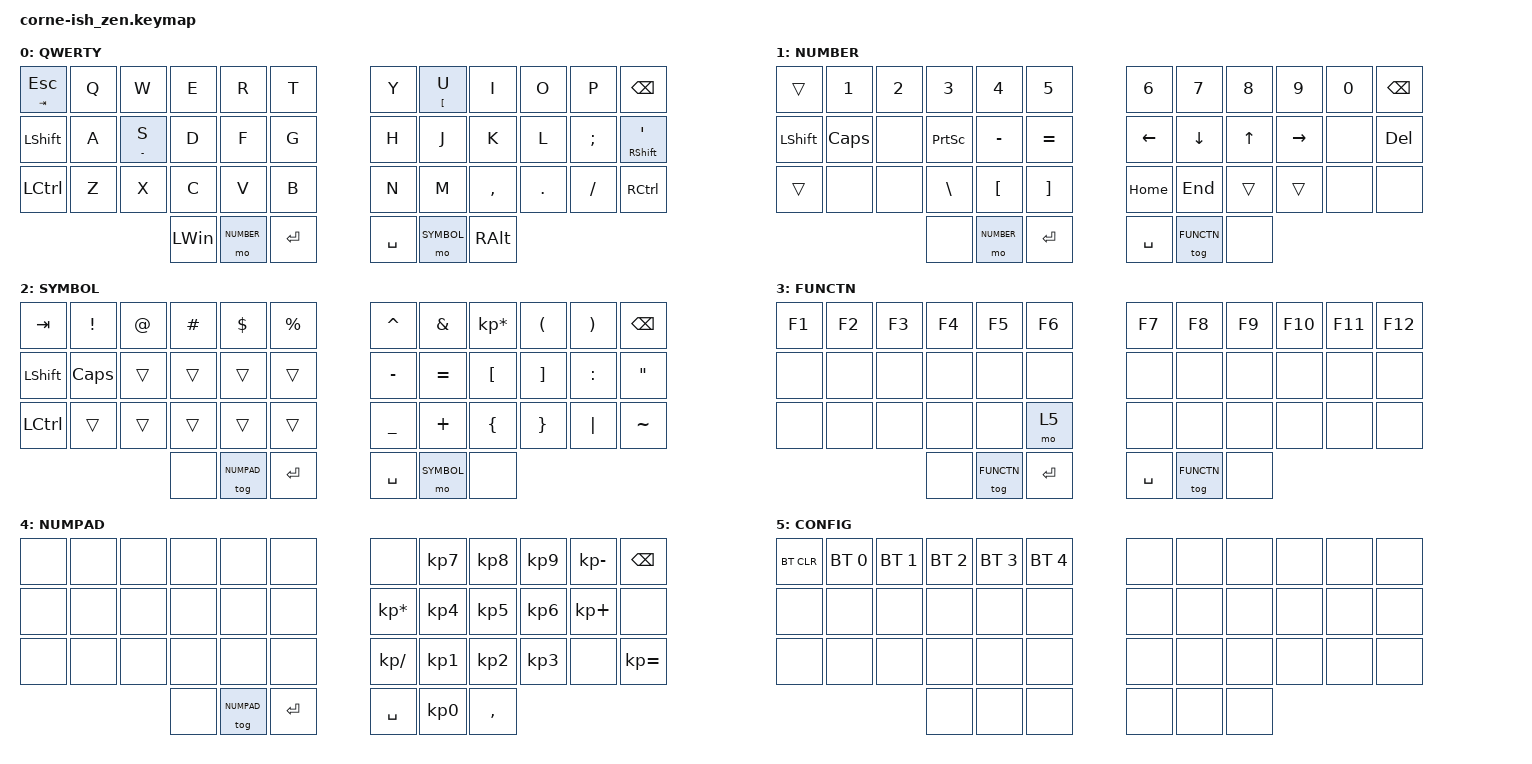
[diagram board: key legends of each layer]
/*
*
* Copyright (c) 2021 lowprokb.ca
* SPDX-License-Identifier: MIT
*
*/

#include <behaviors.dtsi>
#include <dt-bindings/zmk/keys.h>
#include <dt-bindings/zmk/bt.h>

#define QWERTY 0
#define NUMBER 1
#define SYMBOL 2
#define FUNCTN 3
#define         NUMPAD 4
#define         CONFIG 5

&mt {
    tapping-term-ms = <400>;
    flavor = "tap-preferred";
};

/ {
        keymap {
                compatible = "zmk,keymap";

                default_layer {
                        label = "QWERTY";
// -----------------------------------------------------------------------------------------
// | ESC or TAB |  Q  |  W  |  E  |  R  |  T  |   |  Y  |  U   |  I  |  O  |  P  | BKSP |
// |    SHFT    |  A  |  S  |  D  |  F  |  G  |   |  H  |  J   |  K  |  L  |  ;  |  '  or SHIFT |
// |    CTRL    |  Z  |  X  |  C  |  V  |  B  |   |  N  |  M   |  ,  |  .  |  /  | CTRL  |
//                    | WIN | NUMBER | ENT |   | SPC | SYMBOL  | ALT |
                        bindings = <
   &mt TAB ESC &kp Q &kp W &kp E &kp R &kp T    &kp Y &mt LBKT U &kp I      &kp O    &kp P    &kp BKSP
   &kp LSHFT   &kp A &mt MINUS S &kp D &kp F &kp G    &kp H &kp J      &kp K      &kp L    &kp SEMI &mt RSHIFT SQT
   &kp LCTRL   &kp Z &kp X &kp C &kp V &kp B    &kp N &kp M      &kp COMMA  &kp DOT  &kp FSLH &kp RCTRL
              &kp LWIN &mo NUMBER &kp RET    &kp SPACE &mo SYMBOL &kp RALT
                        >;
                };

                number_layer {
                        label = "NUMBER";
// -----------------------------------------------------------------------------------------
// |  ESC or TAB |  1  |  2  |  3  |  4  |  5  |   |  6  |  7  |  8  |  9  |  0  | BKSP |
// |     SHFT    |CAPS|     |     |     |     |   | LFT | DWN |  UP | RGT |     |  DEL |
// |     CTRL    |     |     |     |     |     |   |HOME | END |     |  |     |      |
//                    |     |     |  ENT  |   | SPC | FUNCTN |     |  
                        bindings = <
   &trans     &kp N1    &kp N2 &kp N3    &kp N4    &kp N5       &kp N6   &kp N7   &kp N8 &kp N9    &kp N0   &kp BKSP
   &kp LSHFT  &kp CAPS  &none  &kp PSCRN &kp MINUS &kp EQUAL    &kp LEFT &kp DOWN &kp UP &kp RIGHT &none    &kp DEL
   &trans     &none     &none  &kp BSLH  &kp LBKT  &kp RBKT     &kp HOME &kp END  &trans &trans    &none    &none 
                          &none &mo NUMBER &kp RET   &kp SPACE &tog FUNCTN &none
                        >;
                };


                symbol_layer {
                        label = "SYMBOL";
// -----------------------------------------------------------------------------------------
// |  TAB |  !  |  @  |  #  |  $  |  %  |   |  ^  |  &  |  *  |  (  |  )  | BKSP |
// | SHFT | CAPS|     |     |     |     |   |  -  |  =  |  [  |  ]  |  :  |  "   |
// | CTRL |     |     |     |     |     |   |  _  |  +  |  {  |  }  | "|" |  ~   |
//                    |     | LWR | NUMPAD |   | SPC |     |     |
                        bindings = <
   &kp  TAB  &kp EXCL &kp AT &kp HASH &kp DLLR &kp PRCNT   &kp CARET &kp AMPS  &kp KP_ASTERISK &kp LPAR &kp RPAR &kp BSPC
   &kp LSHFT &kp CAPS &trans &trans   &trans   &trans      &kp MINUS &kp EQUAL &kp LBKT        &kp RBKT &kp COLON &kp DQT
   &kp LCTRL &trans   &trans &trans   &trans   &trans      &kp UNDER &kp PLUS  &kp LBRC        &kp RBRC &kp PIPE &kp TILDE
                    	     &none    &tog NUMPAD  &kp RET   &kp SPACE   &mo SYMBOL    &none
                        >;
                };

                functn_layer {
                        label = "FUNCTN";
// -----------------------------------------------------------------------------------------
// |  F1  | F2  | F3  | F4  | F5  |   |  F6 |  F7 | F8  | F9  | F10 | F11 | F12 |
// |      |     |     |     |     |     |   |     |     |     |     |     |      |
// |      |     |     |     |     | CONFIG |   |     |     |     |     |     |      |
//                    |     | LWR | QWERTY |   | SPC | QWERTY |     |
                        bindings = <
   &kp F1   &kp F2  &kp F3   &kp F4   &kp F5 &kp F6    &kp F7   &kp F8   &kp F9 &kp F10  &kp F11 &kp F12
   &none    &none   &none    &none    &none  &none     &none    &none    &none  &none    &none   &none
   &none    &none   &none    &none    &none  &mo 5     &none    &none    &none  &none    &none   &none
                           &none &tog FUNCTN   &kp RET    &kp SPACE &tog FUNCTN &none
                        >;
                };

                numpad_layer {
                        label = "NUMPAD";
// -----------------------------------------------------------------------------------------
// |      |     |     |     |     |     |   |     |  7   |  8  |  9  |  -  | BKSP |
// |      |     |     |     |     |     |   |  *  |  4   |  5  |  6  |  +  |      |
// |      |     |     |     |     |     |   |  /  |  1   |  2  |  3  |     |  =   |
//                    |     | QWERTY | ENT |   | SPC | 0 | , |
                        bindings = < 
   &none &none &none &none &none &none    &none           &kp KP_N7 &kp KP_N8 &kp KP_N9 &kp KP_MINUS &kp BSPC
   &none &none &none &none &none &none    &kp KP_ASTERISK &kp KP_N4 &kp KP_N5 &kp KP_N6 &kp KP_PLUS  &none
   &none &none &none &none &none &none    &kp KP_SLASH    &kp KP_N1 &kp KP_N2 &kp KP_N3 &none &kp KP_EQUAL
               &none &tog NUMPAD &kp RET    &kp SPACE &kp KP_N0 &kp COMMA
                        >;
                };

                config_layer {
                        label = "CONFIG";
// -----------------------------------------------------------------------------------------
// | BTCLR| BT1 | BT2 | BT3 | BT4 | BT5 |   |     |     |     |     |     |      |
// |      |     |     |     |     |     |   |     |     |     |     |     |      |
// |      |     |     |     |     |     |   |     |     |     |     |     |      |
//                    |     |     |     |   |     |     |     |
                        bindings = <
   &bt BT_CLR &bt BT_SEL 0 &bt BT_SEL 1 &bt BT_SEL 2 &bt BT_SEL 3 &bt BT_SEL 4    &none &none &none &none &none &none 
   &none      &none        &none        &none        &none        &none           &none &none &none &none &none &none
   &none      &none        &none        &none        &none        &none           &none &none &none &none &none &none
                                        &none        &none        &none           &none &none &none
                        >;
                };
        };
};
